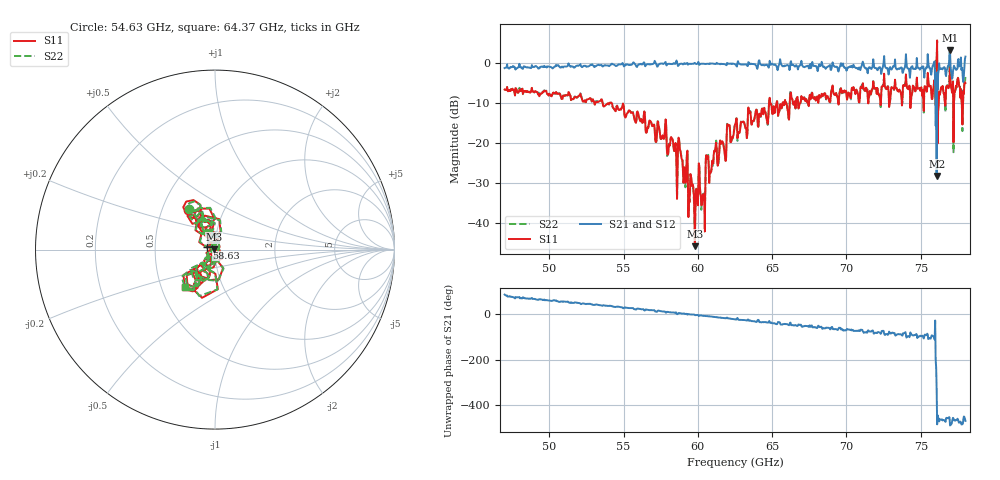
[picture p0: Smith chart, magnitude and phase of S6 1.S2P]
!  2-Port S-parameters saved by WinCal
! VAR ChuckHeaterState=Unknown
! VAR ChuckTemp=NaN
! VAR ChuckTempUnits=C
! VAR NAME=S6
! VAR FILENAME=S6.S2P
! VAR DATE=8/1/2024 12:11:52 PM
! VAR PHYS_PORTS=1,2
! VAR ObjTypeName=DATASET
! VAR IndexType=Frequency
# Hz S DB R 1
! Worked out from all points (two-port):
!   931 points, 47 GHz to 78 GHz, reference 1 ohm
!   highest |S21| = 3.12 dB at 76.97 GHz (marker M1); lowest = -28.2 dB at 76.07 GHz (marker M2)
!   |S21| within 3 dB of the highest: 57.0654 GHz to 57.14535 GHz (79.94 MHz wide, 0.14 % of centre); 76.90076 GHz to 76.99087 GHz (90.1 MHz wide, 0.117 % of centre)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
!   lowest |S11| = -45.7 dB at 59.8 GHz (marker M3), VSWR 1.01, Z = 0.99 + j0.00116 ohm
!   |S11| at or under -10 dB: 53.59 GHz to 54.06 GHz (469.7 MHz wide, 0.873 % of centre); 54.21 GHz to 64.79 GHz (10.58 GHz wide, 17.8 % of centre); 64.88 GHz to 65.29 GHz (416.9 MHz wide, 0.64 % of centre)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
!   |S22| runs from -44.0 to 0.7 dB; largest |S21 - S12| = 0.52
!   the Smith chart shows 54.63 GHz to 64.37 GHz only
!   S11 on the Smith chart (normalised r, x): 54.63 GHz: 0.68, +0.32; 58.63 GHz: 0.91, +0.02; 64.37 GHz: 0.66, -0.30
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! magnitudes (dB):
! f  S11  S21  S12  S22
! 47 GHz  -6.6  -1.3  -1.3  -6.7
! 52.17 GHz  -8.6  -0.9  -0.9  -8.3
! 54.63 GHz  -11.5  -0.4  -0.4  -11.4
! 57.37 GHz  -15.8  -0.4  -0.4  -15.7
! 58.63 GHz  -26.4  -0.4  -0.4  -26.7
! 58.8 GHz  -21.7  -0.2  -0.2  -21.6
! 59.8 GHz  -45.7  0.0  0.0  -44.0
! 60 GHz  -35.5  -0.1  -0.1  -34.2
! 60.37 GHz  -34.0  -0.2  -0.2  -33.8
! 60.67 GHz  -23.2  -0.2  -0.2  -23.1
! 60.9 GHz  -27.0  -0.2  -0.2  -27.1
! 62.5 GHz  -15.3  -0.3  -0.3  -15.1
! 64.37 GHz  -11.5  -0.5  -0.5  -11.5
! 67.67 GHz  -7.6  -0.4  -0.3  -7.4
! 72.87 GHz  -11.0  -2.2  -2.2  -9.7
! 75.8 GHz  -7.7  -0.7  -0.7  -8.0
! 75.97 GHz  -6.1  -5.7  -5.7  -5.7
! 76.07 GHz  1.6  -28.2  -28.2  0.6
! 76.3 GHz  -7.6  -1.5  -1.5  -7.5
! 76.97 GHz  1.2  3.1  3.1  -2.9
! 77.77 GHz  -11.1  -1.2  -1.2  -11.1
! 78 GHz  -5.0  1.6  1.6  -3.5
